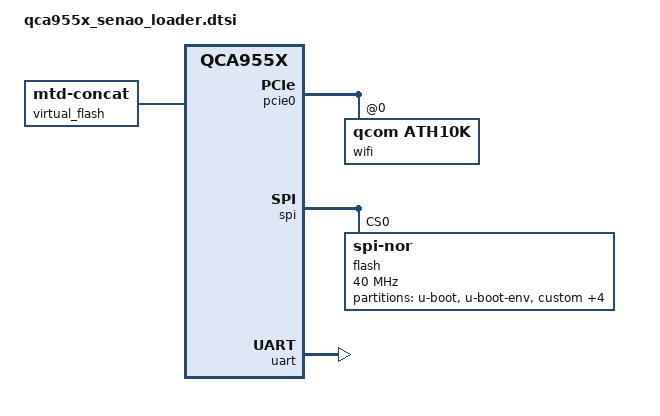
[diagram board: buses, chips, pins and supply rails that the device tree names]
// SPDX-License-Identifier: GPL-2.0-or-later OR MIT

#include "qca955x.dtsi"

#include <dt-bindings/mtd/partitions/uimage.h>

/ {
	virtual_flash {
		compatible = "mtd-concat";

		devices = <&fwconcat0 &fwconcat1>;

		partitions {
			compatible = "fixed-partitions";
			#address-cells = <1>;
			#size-cells = <1>;

			partition@0 {
				compatible = "openwrt,uimage", "denx,uimage";
				openwrt,ih-magic = <IH_MAGIC_OKLI>;
				label = "firmware";
				reg = <0x0 0x0>;
			};
		};
	};
};

&pcie0 {
	status = "okay";

	wifi@0,0,0 {
		compatible = "qcom,ath10k";
		reg = <0x0 0 0 0 0>;
		qca,no-eeprom;
	};
};

&spi {
	status = "okay";

	flash@0 {
		compatible = "jedec,spi-nor";
		reg = <0>;
		spi-max-frequency = <40000000>;

		partitions: partitions {
			compatible = "fixed-partitions";
			#address-cells = <1>;
			#size-cells = <1>;

			partition@0 {
				label = "u-boot";
				reg = <0x000000 0x040000>;
				read-only;
			};

			partition@40000 {
				label = "u-boot-env";
				reg = <0x040000 0x010000>;
			};

			partition@50000 {
				label = "custom";
				reg = <0x050000 0x050000>;
				read-only;
			};

			partition@a0000 {
				label = "loader";
				reg = <0x0a0000 0x010000>;
			};

			fwconcat1: partition@b0000 {
				label = "fwconcat1";
				reg = <0x0b0000 0x180000>;
			};

			fwconcat0: partition@230000 {
				label = "fwconcat0";
				reg = <0x230000 0xb40000>;
			};

			partition@d70000 {
				label = "failsafe";
				reg = <0xd70000 0x280000>;
				read-only;
			};
		};
	};
};

&uart {
	status = "okay";
};
